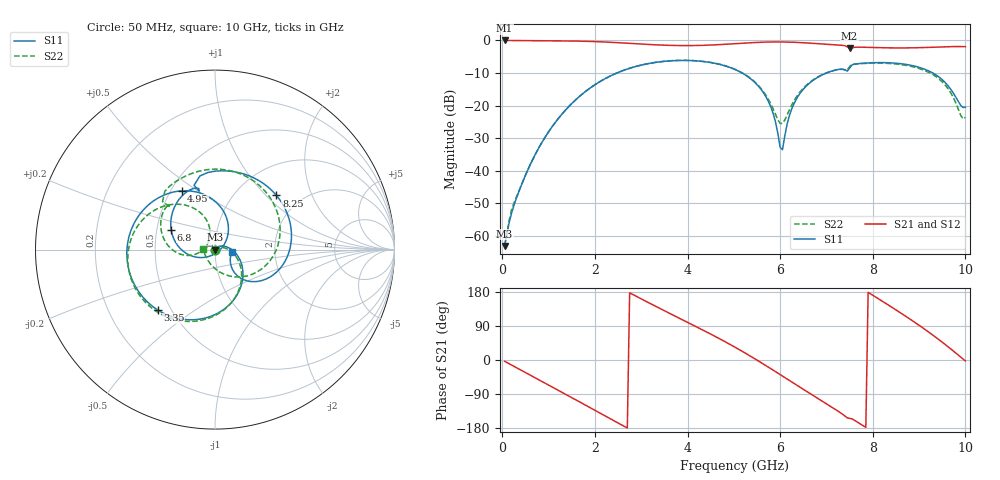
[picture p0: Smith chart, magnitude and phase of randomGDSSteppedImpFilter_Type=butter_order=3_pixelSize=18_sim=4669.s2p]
! freq	dB(S11)	phase(S11)	dB(S12)	phase(S12)
!  dB(S21)	phase(S21)	dB(S22)	phase(S22)
!S-par simulation data
#  GHz  S  DB  R 50
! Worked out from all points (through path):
!   200 points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, 50 MHz to 10 GHz, reference 50 ohm
!   highest |S21| = -0.01 dB at 50 MHz (marker M1); lowest = -2.5 dB at 7.5 GHz (marker M2)
!   group delay of S21, straight-line fit = 196 ps
!   lowest |S11| = -63.1 dB at 50 MHz (marker M3), VSWR 1.00, Z = 50.1 + j0.0448 ohm
!   |S11| at or under -10 dB: start of sweep to 2.475 GHz; 5.177 GHz to 7 GHz (1.823 GHz wide, 29.9 % of centre); 9.295 GHz to end of sweep
!   |S22| runs from -63.2 to -6.1 dB; largest |S21 - S12| = 0
!   S11 on the Smith chart (normalised r, x): 50 MHz: 1.00, +0.00; 3.35 GHz: 0.42, -0.36; 4.95 GHz: 0.57, +0.43; 6.8 GHz: 0.59, +0.14; 8.25 GHz: 1.51, +1.15; 10 GHz: 1.21, -0.03
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0.05  -63.10 39.8  -0.01 -3.3  -0.01 -3.3  -63.18 41.6
0.2  -53.06 64.6  -0.02 -13.2  -0.02 -13.2  -52.03 56.6
0.7  -35.33 51.1  -0.06 -46.0  -0.06 -46.0  -35.34 35.8
1.25  -23.27 12.0  -0.12 -82.5  -0.12 -82.5  -23.27 2.6
1.75  -16.20 -23.9  -0.25 -116.0  -0.25 -116.0  -16.19 -28.8
2.55  -9.56 -80.3  -0.73 -169.6  -0.73 -169.6  -9.54 -79.7
3.35  -6.67 -133.6  -1.38 139.3  -1.38 139.3  -6.64 -128.0
3.4  -6.58 -136.9  -1.41 136.2  -1.41 136.2  -6.55 -130.9
4.2  -6.29 171.6  -1.55 87.3  -1.55 87.3  -6.26 -176.2
4.95  -8.49 119.6  -1.07 38.9  -1.07 38.9  -8.43 140.9
5.05  -9.08 112.0  -0.98 32.1  -0.98 32.1  -9.01 135.1
5.7  -17.45 56.0  -0.51 -15.3  -0.51 -15.3  -16.99 104.2
6.05  -33.56 -77.5  -0.48 -42.4  -0.48 -42.4  -25.51 157.8
6.3  -19.38 -156.3  -0.57 -61.8  -0.57 -61.8  -18.51 -166.4
6.7  -12.37 164.3  -0.89 -92.8  -0.89 -92.8  -12.21 178.7
6.8  -11.42 155.5  -0.98 -100.4  -0.98 -100.4  -11.31 172.9
7.5  -8.48 108.1  -2.45 -154.1  -2.45 -154.1  -8.04 137.5
8.25  -6.81 41.4  -2.26 151.8  -2.26 151.8  -7.00 75.1
8.35  -6.86 33.9  -2.29 144.0  -2.29 144.0  -7.07 67.4
9.2  -9.32 -26.6  -2.14 74.3  -2.14 74.3  -9.75 -6.5
9.6  -13.50 -48.3  -1.94 37.5  -1.94 37.5  -14.33 -52.6
10  -20.49 -6.7  -1.92 -2.6  -1.92 -2.6  -23.66 175.0
